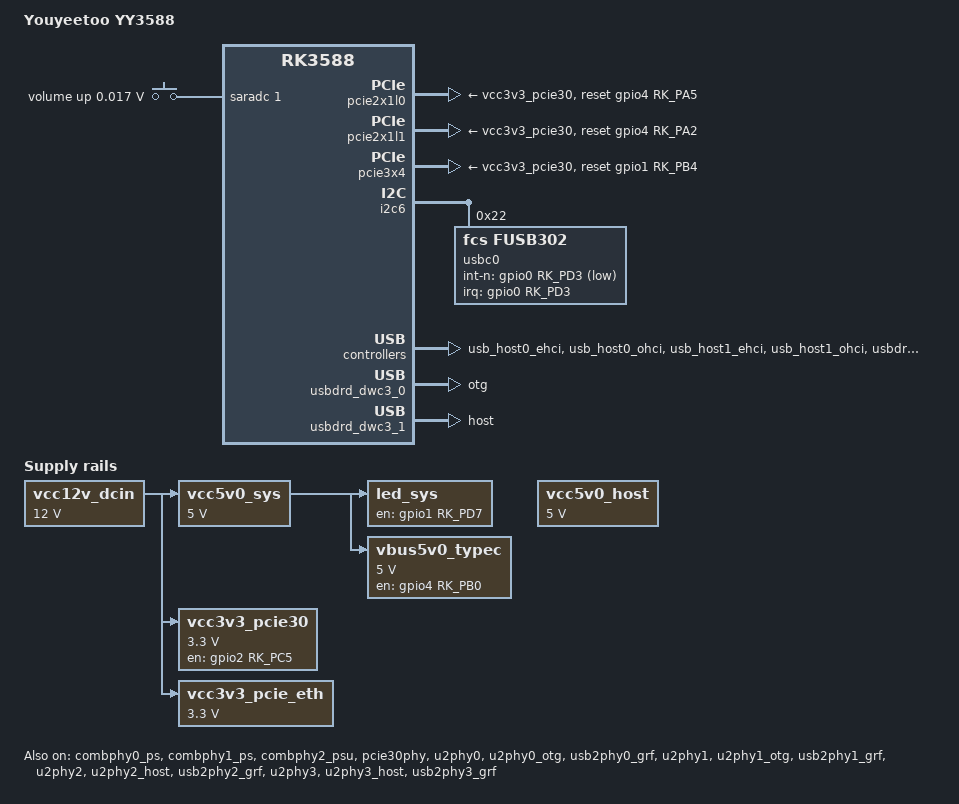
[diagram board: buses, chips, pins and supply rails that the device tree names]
// SPDX-License-Identifier: (GPL-2.0+ OR MIT)
/*
 * Copyright (c) 2021 Rockchip Electronics Co., Ltd
 * Copyright (c) 2024 Youyeetoo
 */

/dts-v1/;
#include "rk3588.dtsi"
#include "rk3588-u-boot.dtsi"
#include <dt-bindings/input/input.h>
#include <dt-bindings/usb/pd.h>

/ {
	model = "Youyeetoo YY3588";
	compatible = "youyeetoo,yy3588", "rockchip,rk3588";

	vcc12v_dcin: vcc12v-dcin {
		u-boot,dm-pre-reloc;
		compatible = "regulator-fixed";
		regulator-name = "vcc12v_dcin";
		regulator-always-on;
		regulator-boot-on;
		regulator-min-microvolt = <12000000>;
		regulator-max-microvolt = <12000000>;
	};

	vcc5v0_sys: vcc5v0-sys {
		u-boot,dm-pre-reloc;
		compatible = "regulator-fixed";
		regulator-name = "vcc5v0_sys";
		regulator-always-on;
		regulator-boot-on;
		regulator-min-microvolt = <5000000>;
		regulator-max-microvolt = <5000000>;
		vin-supply = <&vcc12v_dcin>;
	};

	vcc5v0_host: vcc5v0-host {
		u-boot,dm-pre-reloc;
		compatible = "regulator-fixed";
		regulator-name = "vcc5v0_host";
		regulator-always-on;
		regulator-boot-on;
		regulator-min-microvolt = <5000000>;
		regulator-max-microvolt = <5000000>;
	};

	led_sys: led-sys {
		u-boot,dm-pre-reloc;
		compatible = "regulator-fixed";
		regulator-name = "led_sys";
		enable-active-high;
		gpio = <&gpio1 RK_PD7 GPIO_ACTIVE_HIGH>;
		regulator-boot-on;
		regulator-always-on;
		vin-supply = <&vcc5v0_sys>;
	};

	adc-keys {
		compatible = "adc-keys";
		io-channels = <&saradc 1>;
		io-channel-names = "buttons";
		keyup-threshold-microvolt = <1800000>;
		u-boot,dm-pre-reloc;
		status = "okay";

		volumeup-key {
			u-boot,dm-pre-reloc;
			linux,code = <KEY_VOLUMEUP>;
			label = "volume up";
			press-threshold-microvolt = <17000>;
		};
	};

	vcc3v3_pcie30: vcc3v3-pcie30 {
		u-boot,dm-pre-reloc;
		compatible = "regulator-fixed";
		regulator-name = "vcc3v3_pcie30";
		regulator-min-microvolt = <3300000>;
		regulator-max-microvolt = <3300000>;
		enable-active-high;
		gpio = <&gpio2 RK_PC5 GPIO_ACTIVE_HIGH>;
		regulator-boot-on;
		regulator-always-on;
		vin-supply = <&vcc12v_dcin>;
	};

	vcc3v3_pcie_eth: vcc3v3-pcie-eth {
		u-boot,dm-pre-reloc;
		compatible = "regulator-fixed";
		regulator-name = "vcc3v3_pcie_eth";
		regulator-min-microvolt = <3300000>;
		regulator-max-microvolt = <3300000>;
		regulator-always-on;
		regulator-boot-on;
		vin-supply = <&vcc12v_dcin>;
	};

	vbus5v0_typec: vbus5v0-typec {
		u-boot,dm-pre-reloc;
		compatible = "regulator-fixed";
		regulator-name = "vbus5v0_typec";
		regulator-min-microvolt = <5000000>;
		regulator-max-microvolt = <5000000>;
		enable-active-high;
		gpio = <&gpio4 RK_PB0 GPIO_ACTIVE_HIGH>;
		pinctrl-names = "default";
		pinctrl-0 = <&typec5v_pwren>;
		vin-supply = <&vcc5v0_sys>;
	};
};

&combphy0_ps {
	u-boot,dm-pre-reloc;
	status = "okay";
};

&combphy1_ps {
	u-boot,dm-pre-reloc;
	status = "okay";
};

&combphy2_psu {
	u-boot,dm-pre-reloc;
	status = "okay";
};

/* PCIe 2.0 x1 - WiFi slot */
&pcie2x1l0 {
	u-boot,dm-pre-reloc;
	reset-gpios = <&gpio4 RK_PA5 GPIO_ACTIVE_HIGH>;
	vpcie3v3-supply = <&vcc3v3_pcie30>;
	status = "okay";
};

/* PCIe 2.0 x1 - RTL8125 */
&pcie2x1l1 {
	u-boot,dm-pre-reloc;
	reset-gpios = <&gpio4 RK_PA2 GPIO_ACTIVE_HIGH>;
	vpcie3v3-supply = <&vcc3v3_pcie30>;
	status = "okay";
};

&pcie30phy {
	u-boot,dm-pre-reloc;
	status = "okay";
};

/* PCIe 3.0 x4 */
&pcie3x4 {
	u-boot,dm-pre-reloc;
	reset-gpios = <&gpio1 RK_PB4 GPIO_ACTIVE_HIGH>;
	vpcie3v3-supply = <&vcc3v3_pcie30>;
	status = "okay";
};

&i2c6 {
	u-boot,dm-pre-reloc;
	pinctrl-names = "default";
	pinctrl-0 = <&i2c6m0_xfer>;
	status = "okay";

	usbc0: fusb302@22 {
		compatible = "fcs,fusb302";
		u-boot,dm-pre-reloc;
		reg = <0x22>;
		interrupt-parent = <&gpio0>;
		interrupts = <RK_PD3 IRQ_TYPE_LEVEL_LOW>;
		int-n-gpios = <&gpio0 RK_PD3 GPIO_ACTIVE_LOW>;
		pinctrl-names = "default";
		pinctrl-0 = <&usbc0_int>;
		status = "okay";

		usb_con: connector {
			u-boot,dm-pre-reloc;
			compatible = "usb-c-connector";
			label = "USB-C";
			data-role = "dual";
			power-role = "sink";
			try-power-role = "sink";
			op-sink-microwatt = <1000000>;
			sink-pdos =
				<PDO_FIXED(5000, 3000, PDO_FIXED_USB_COMM)
				 PDO_VAR(5000, 12000, 5000)>;
		};
	};
};

&u2phy0 {
	u-boot,dm-pre-reloc;
	status = "okay";
};

&u2phy0_otg {
	u-boot,dm-pre-reloc;
	status = "okay";
};

&usb2phy0_grf {
	u-boot,dm-pre-reloc;
	status = "okay";
};

&u2phy1 {
	u-boot,dm-pre-reloc;
	status = "okay";
};

&u2phy1_otg {
	u-boot,dm-pre-reloc;
	status = "okay";
};

&usb2phy1_grf {
	u-boot,dm-pre-reloc;
	status = "okay";
};

&u2phy2 {
	u-boot,dm-pre-reloc;
	status = "okay";
};

&u2phy2_host {
	u-boot,dm-pre-reloc;
	phy-supply = <&vcc5v0_host>;
	status = "okay";
};

&usb2phy2_grf {
	u-boot,dm-pre-reloc;
	status = "okay";
};

&u2phy3 {
	u-boot,dm-pre-reloc;
	status = "okay";
};

&u2phy3_host {
	u-boot,dm-pre-reloc;
	phy-supply = <&vcc5v0_host>;
	status = "okay";
};

&usb2phy3_grf {
	u-boot,dm-pre-reloc;
	status = "okay";
};

&usb_host0_ehci {
	u-boot,dm-pre-reloc;
	status = "okay";
};

&usb_host0_ohci {
	u-boot,dm-pre-reloc;
	status = "okay";
};

&usb_host1_ehci {
	u-boot,dm-pre-reloc;
	status = "okay";
};

&usb_host1_ohci {
	u-boot,dm-pre-reloc;
	status = "okay";
};

&usbdrd3_0 {
	u-boot,dm-pre-reloc;
	status = "okay";
};

&usbdrd_dwc3_0 {
	u-boot,dm-pre-reloc;
	dr_mode = "otg";
	status = "okay";
};

&usbdrd3_1 {
	u-boot,dm-pre-reloc;
	status = "okay";
};

&usbdrd_dwc3_1 {
	u-boot,dm-pre-reloc;
	dr_mode = "host";
	status = "okay";
};

&pinctrl {
	u-boot,dm-pre-reloc;
	status = "okay";

	usb {
		u-boot,dm-pre-reloc;

		typec5v_pwren: typec5v-pwren {
			u-boot,dm-pre-reloc;
			rockchip,pins = <4 RK_PB0 RK_FUNC_GPIO &pcfg_pull_none>;
		};

		usbc0_int: usbc0-int {
			u-boot,dm-pre-reloc;
			rockchip,pins = <0 RK_PD3 RK_FUNC_GPIO &pcfg_pull_up>;
		};
	};
};

&i2c6m0_xfer {
	u-boot,dm-pre-reloc;
};

&php_grf {
	u-boot,dm-pre-reloc;
};

&ioc {
	u-boot,dm-pre-reloc;
};

&cru {
	u-boot,dm-pre-reloc;
};

&pcfg_pull_none_smt {
	u-boot,dm-pre-reloc;
};

&gpio0 {
	u-boot,dm-pre-reloc;
	status = "okay";
};

&gpio1 {
	u-boot,dm-pre-reloc;
	status = "okay";
};

&gpio2 {
	u-boot,dm-pre-reloc;
	status = "okay";
};

&gpio3 {
	u-boot,dm-pre-reloc;
	status = "okay";
};

&gpio4 {
	u-boot,dm-pre-reloc;
	status = "okay";
};
